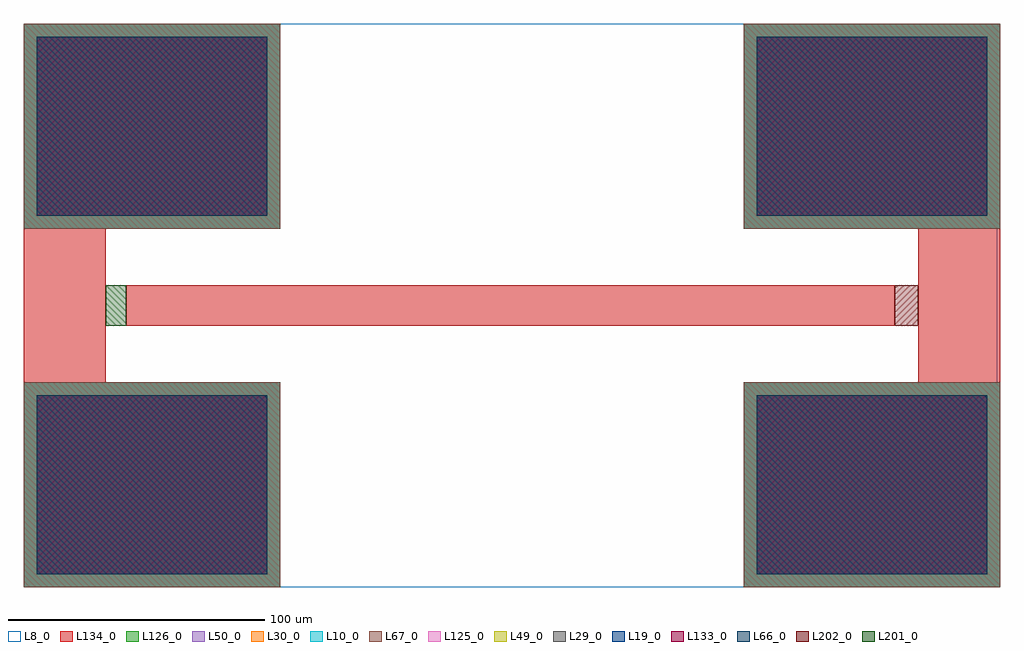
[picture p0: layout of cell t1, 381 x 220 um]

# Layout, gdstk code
import gdstk
lib = gdstk.Library(unit=1e-6, precision=1e-06)
def R(c, l, rs):  # rectangles x0, y0, x1, y1
    for r in rs: c.add(gdstk.rectangle(r[:2], r[2:], *l))
L8_0 = (8, 0)
L10_0 = (10, 0)
L19_0 = (19, 0)
L29_0 = (29, 0)
L30_0 = (30, 0)
L49_0 = (49, 0)
L50_0 = (50, 0)
L66_0 = (66, 0)
L67_0 = (67, 0)
L125_0 = (125, 0)
L126_0 = (126, 0)
L133_0 = (133, 0)
L134_0 = (134, 0)
L201_0 = (201, 0)
L202_0 = (202, 0)

c_t1 = lib.new_cell('t1')
R(c_t1, L8_0, [(-233,-110,147,110)])
R(c_t1, L10_0, [(-233,-110,-133,-30), (48,-110,148,-30), (-233,30,-133,110), (48,30,148,110)])
R(c_t1, L19_0, [(-228,-105,-138,-35), (53,-105,143,-35), (-228,35,-138,105), (53,35,143,105)])
R(c_t1, L29_0, [(-228,-105,-138,-35), (53,-105,143,-35), (-228,35,-138,105), (53,35,143,105)])
R(c_t1, L30_0, [(-233,-110,-133,-30), (48,-110,148,-30), (-233,30,-133,110), (48,30,148,110)])
R(c_t1, L49_0, [(-228,-105,-138,-35), (53,-105,143,-35), (-228,35,-138,105), (53,35,143,105)])
R(c_t1, L50_0, [(-233,-110,-133,-30), (48,-110,148,-30), (-233,30,-133,110), (48,30,148,110)])
R(c_t1, L66_0, [(-228,-105,-138,-35), (53,-105,143,-35), (-228,35,-138,105), (53,35,143,105)])
R(c_t1, L67_0, [(-233,-110,-133,-30), (48,-110,148,-30), (-233,30,-133,110), (48,30,148,110)])
R(c_t1, L125_0, [(-228,-105,-138,-35), (53,-105,143,-35), (-228,35,-138,105), (53,35,143,105)])
R(c_t1, L126_0, [(-233,-110,-133,-30), (48,-110,148,-30), (-233,30,-133,110), (48,30,148,110)])
R(c_t1, L133_0, [(-228,-105,-138,-35), (53,-105,143,-35), (-228,35,-138,105), (53,35,143,105)])
R(c_t1, L134_0, [(-233,-110,-133,-30), (48,-110,148,-30), (-233,-30,-201,30), (116,-30,148,30), (-193,-8,107,8), (-233,30,-133,110), (48,30,148,110)])
R(c_t1, L201_0, [(-201,-8,-193,8)])
R(c_t1, L202_0, [(107,-8,116,8)])

lib.write_gds('t1.gds')
